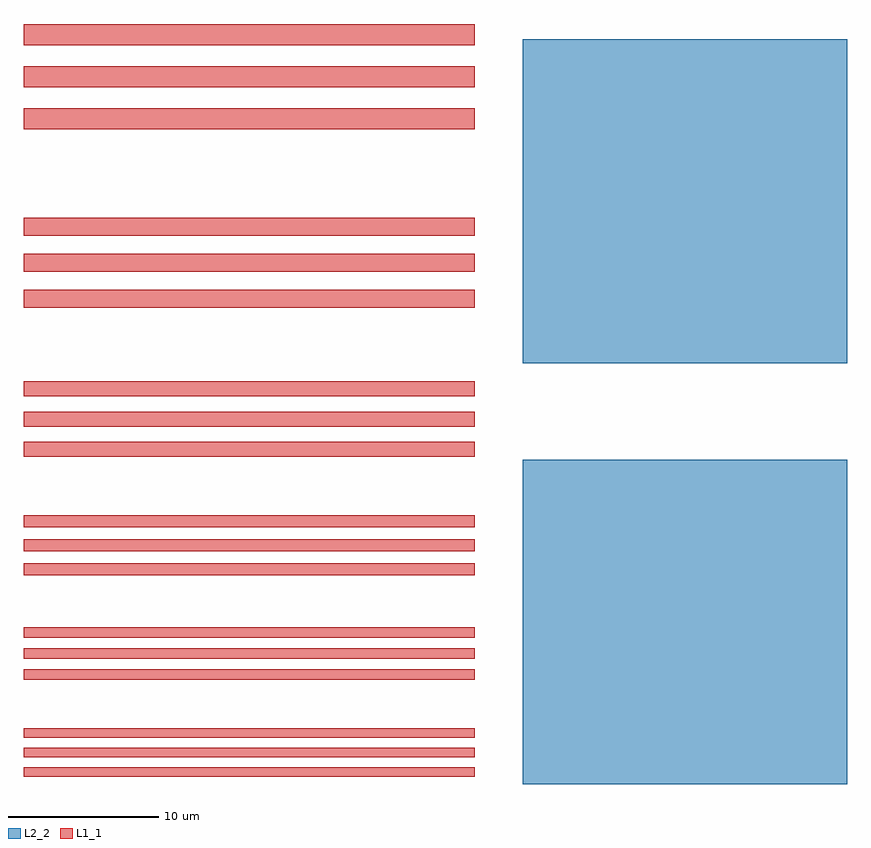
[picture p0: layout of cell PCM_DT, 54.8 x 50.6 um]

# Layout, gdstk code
import gdstk
lib = gdstk.Library(unit=1e-6, precision=1e-09)
def P(c, l, *ps):  # polygons
    for p in ps: c.add(gdstk.Polygon(p, *l))
L1_1 = (1, 1)
L2_2 = (2, 2)

pcm_dt = lib.new_cell('PCM_DT')
P(pcm_dt, L1_1, [(-15,33.675),(-15,34.325),(15,34.325),(15,33.675),(-15,33.675)],
  [(-15,34.975),(-15,35.625),(15,35.625),(15,34.975),(-15,34.975)],
  [(-15,36.275),(-15,36.925),(15,36.925),(15,36.275),(-15,36.275)],
  [(-15,40.15),(-15,40.85),(15,40.85),(15,40.15),(-15,40.15)],
  [(-15,41.55),(-15,42.25),(15,42.25),(15,41.55),(-15,41.55)],
  [(-15,42.95),(-15,43.65),(15,43.65),(15,42.95),(-15,42.95)],
  [(-15,47.1),(-15,47.9),(15,47.9),(15,47.1),(-15,47.1)],
  [(-15,48.7),(-15,49.5),(15,49.5),(15,48.7),(-15,48.7)],
  [(-15,50.3),(-15,51.1),(15,51.1),(15,50.3),(-15,50.3)],
  [(-15,55),(-15,56),(15,56),(15,55),(-15,55)],
  [(-15,57),(-15,58),(15,58),(15,57),(-15,57)],
  [(-15,59),(-15,60),(15,60),(15,59),(-15,59)],
  [(-15,64.9),(-15,66.1),(15,66.1),(15,64.9),(-15,64.9)],
  [(-15,67.3),(-15,68.5),(15,68.5),(15,67.3),(-15,67.3)],
  [(-15,69.7),(-15,70.9),(15,70.9),(15,69.7),(-15,69.7)],
  [(-15,76.8),(-15,78.2),(15,78.2),(15,76.8),(-15,76.8)],
  [(-15,79.6),(-15,81),(15,81),(15,79.6),(-15,79.6)],
  [(-15,82.4),(-15,83.8),(15,83.8),(15,82.4),(-15,82.4)])
P(pcm_dt, L2_2, [(18.2,61.2),(18.2,82.8),(39.8,82.8),(39.8,61.2),(18.2,61.2)],
  [(18.2,33.2),(18.2,54.8),(39.8,54.8),(39.8,33.2),(18.2,33.2)])

lib.write_gds('PCM_DT.gds')
